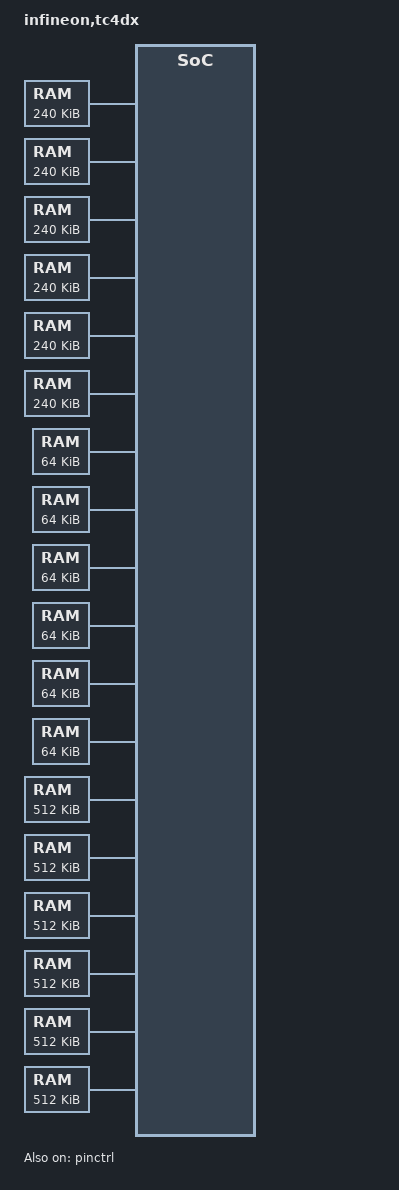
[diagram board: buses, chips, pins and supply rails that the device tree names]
/*
 * Copyright (c) 2024 Infineon Technologies AG
 *
 * SPDX-License-Identifier: Apache-2.0
 */

#include <infineon/tc4x/tc4dx-irq.h>

&sys_pll {
	fpllppu: sys_pll@3 {
		compatible = "infineon,aurix-pll-clock";
		reg = <3>;
		clocks = <&sys_pll>;
		k-div = <1>;
		k-pre-div = "1.1";
		#clock-cells = <0>;
	};
};

/ {
	model = "infineon,tc4dx";
	compatible = "infineon,tc4dx";

	clocks {
		fsourceppu: fsourceppu {
			compatible = "infineon,aurix-clock-mux";
			clocks = <&fpllppu>;
			#clock-cells = <0>;
		};

		fppu: fppu {
			compatible = "infineon,aurix-clock";
			clocks = <&fsourceppu>;
			clock-frequency = <454545454>;
			#clock-cells = <0>;
		};

		fcpu0: fcpu0 {
			compatible = "infineon,aurix-clock";
			clocks = <&fsri>;
			clock-frequency = <DT_FREQ_M(500)>;
			#clock-cells = <0>;
		};

		fcpu1: fcpu1 {
			compatible = "infineon,aurix-clock";
			clocks = <&fsri>;
			clock-frequency = <DT_FREQ_M(500)>;
			#clock-cells = <0>;
		};

		fcpu2: fcpu2 {
			compatible = "infineon,aurix-clock";
			clocks = <&fsri>;
			clock-frequency = <DT_FREQ_M(500)>;
			#clock-cells = <0>;
		};

		fcpu3: fcpu3 {
			compatible = "infineon,aurix-clock";
			clocks = <&fsri>;
			clock-frequency = <DT_FREQ_M(500)>;
			#clock-cells = <0>;
		};

		fcpu4: fcpu4 {
			compatible = "infineon,aurix-clock";
			clocks = <&fsri>;
			clock-frequency = <DT_FREQ_M(500)>;
			#clock-cells = <0>;
		};

		fcpu5: fcpu5 {
			compatible = "infineon,aurix-clock";
			clocks = <&fsri>;
			clock-frequency = <DT_FREQ_M(500)>;
			#clock-cells = <0>;
		};

		fcpucs: fcpucs {
			compatible = "infineon,aurix-clock";
			clocks = <&fsrics>;
			clock-frequency = <DT_FREQ_M(500)>;
			#clock-cells = <0>;
		};

		ffsi: ffsi {
			compatible = "infineon,aurix-clock";
			clocks = <&fsource0>;
			clock-frequency = <DT_FREQ_M(100)>;
			#clock-cells = <0>;
		};

		fleth: fleth {
			compatible = "infineon,aurix-clock";
			clocks = <&fsource0>;
			clock-frequency = <DT_FREQ_M(125)>;
			#clock-cells = <0>;
		};

		fgeth: fgeth {
			compatible = "infineon,aurix-clock";
			clocks = <&fsource0>;
			clock-frequency = <DT_FREQ_M(250)>;
			#clock-cells = <0>;
		};

		fcanxl: fcanxl {
			compatible = "infineon,aurix-clock";
			clocks = <&fsource0>;
			clock-frequency = <DT_FREQ_M(250)>;
			#clock-cells = <0>;
		};

		fcpb: fcpb {
			compatible = "infineon,aurix-clock";
			clocks = <&fsource0>;
			clock-frequency = <DT_FREQ_M(100)>;
			clock-names = "fcpb";
			status = "disabled";
			#clock-cells = <0>;
		};

		fegtm: fegtm {
			compatible = "infineon,aurix-clock";
			clocks = <&fsource0>;
			clock-frequency = <DT_FREQ_M(500)>;
			clock-names = "fegtm";
			status = "disabled";
			#clock-cells = <0>;
		};
	};

	cpus {
		#address-cells = <1>;
		#size-cells = <0>;

		cpu0: cpu@f8800000 {
			compatible = "infineon,tricore", "infineon,tc18";
			reg = <0xf8800000 0x40000>;
			clocks = <&fcpu0>;
		};

		cpu1: cpu@f8840000 {
			compatible = "infineon,tricore", "infineon,tc18";
			reg = <0xf8840000 0x40000>;
			clocks = <&fcpu1>;
		};

		cpu2: cpu@f8880000 {
			compatible = "infineon,tricore", "infineon,tc18";
			reg = <0xf8880000 0x40000>;
			clocks = <&fcpu2>;
		};

		cpu3: cpu@f88c0000 {
			compatible = "infineon,tricore", "infineon,tc18";
			reg = <0xf88c0000 0x40000>;
			clocks = <&fcpu3>;
		};

		cpu4: cpu@f8900000 {
			compatible = "infineon,tricore", "infineon,tc18";
			reg = <0xf8900000 0x40000>;
			clocks = <&fcpu4>;
		};

		cpu5: cpu@f8940000 {
			compatible = "infineon,tricore", "infineon,tc18";
			reg = <0xf8940000 0x40000>;
			clocks = <&fcpu5>;
		};
	};

	dmu_hci: flash_controller@f8040000 {
		compatible = "infineon,tc4x-dmu";
		#address-cells = <1>;
		#size-cells = <1>;
		reg = <0xf8040000 0x20>;

		flash0: flash@80000000 {
			compatible = "infineon,tc4x-nv-flash", "soc-nv-flash";
			write-block-size = <256>;
			reg = <0x80000000 DT_SIZE_M(4)>;
		};

		flash1: flash@80400000 {
			compatible = "infineon,tc4x-nv-flash", "soc-nv-flash";
			write-block-size = <256>;
			reg = <0x80400000 DT_SIZE_M(4)>;
		};

		flash2: flash@80800000 {
			compatible = "infineon,tc4x-nv-flash", "soc-nv-flash";
			write-block-size = <256>;
			reg = <0x80800000 DT_SIZE_M(2)>;
		};

		flash3: flash@80a00000 {
			compatible = "infineon,tc4x-nv-flash", "soc-nv-flash";
			write-block-size = <256>;
			reg = <0x80a00000 DT_SIZE_M(4)>;
		};

		flash4: flash@80e00000 {
			compatible = "infineon,tc4x-nv-flash", "soc-nv-flash";
			write-block-size = <256>;
			reg = <0x80e00000 DT_SIZE_M(4)>;
		};

		flash5: flash@81200000 {
			compatible = "infineon,tc4x-nv-flash", "soc-nv-flash";
			write-block-size = <256>;
			reg = <0x81200000 DT_SIZE_M(2)>;
		};
	};

	dsram0: memory@70000000 {
		compatible = "zephyr,memory-region", "mmio-sram";
		reg = <0x70000000 DT_SIZE_K(240)>;
		zephyr,memory-region = "DSRAM0";
	};

	dsram1: memory@60000000 {
		compatible = "zephyr,memory-region", "mmio-sram";
		reg = <0x60000000 DT_SIZE_K(240)>;
		zephyr,memory-region = "DSRAM1";
	};

	dsram2: memory@50000000 {
		compatible = "zephyr,memory-region", "mmio-sram";
		reg = <0x50000000 DT_SIZE_K(240)>;
		zephyr,memory-region = "DSRAM2";
	};

	dsram3: memory@40000000 {
		compatible = "zephyr,memory-region", "mmio-sram";
		reg = <0x40000000 DT_SIZE_K(240)>;
		zephyr,memory-region = "DSRAM3";
	};

	dsram4: memory@30000000 {
		compatible = "zephyr,memory-region", "mmio-sram";
		reg = <0x30000000 DT_SIZE_K(240)>;
		zephyr,memory-region = "DSRAM4";
	};

	dsram5: memory@20000000 {
		compatible = "zephyr,memory-region", "mmio-sram";
		reg = <0x20000000 DT_SIZE_K(240)>;
		zephyr,memory-region = "DSRAM5";
	};

	psram0: memory@70100000 {
		compatible = "zephyr,memory-region", "mmio-sram";
		reg = <0x70100000 DT_SIZE_K(64)>;
		zephyr,memory-region = "PSRAM0";
	};

	psram1: memory@60100000 {
		compatible = "zephyr,memory-region", "mmio-sram";
		reg = <0x60100000 DT_SIZE_K(64)>;
		zephyr,memory-region = "PSRAM1";
	};

	psram2: memory@50100000 {
		compatible = "zephyr,memory-region", "mmio-sram";
		reg = <0x50100000 DT_SIZE_K(64)>;
		zephyr,memory-region = "PSRAM2";
	};

	psram3: memory@40100000 {
		compatible = "zephyr,memory-region", "mmio-sram";
		reg = <0x40100000 DT_SIZE_K(64)>;
		zephyr,memory-region = "PSRAM3";
	};

	psram4: memory@30100000 {
		compatible = "zephyr,memory-region", "mmio-sram";
		reg = <0x30100000 DT_SIZE_K(64)>;
		zephyr,memory-region = "PSRAM4";
	};

	psram5: memory@20100000 {
		compatible = "zephyr,memory-region", "mmio-sram";
		reg = <0x20100000 DT_SIZE_K(64)>;
		zephyr,memory-region = "PSRAM5";
	};

	dlmu0: memory@90000000 {
		compatible = "zephyr,memory-region", "mmio-sram";
		reg = <0x90000000 DT_SIZE_K(512)>;
		zephyr,memory-region = "DLMU0";
	};

	dlmu1: memory@90080000 {
		compatible = "zephyr,memory-region", "mmio-sram";
		reg = <0x90080000 DT_SIZE_K(512)>;
		zephyr,memory-region = "DLMU1";
	};

	dlmu2: memory@90100000 {
		compatible = "zephyr,memory-region", "mmio-sram";
		reg = <0x90100000 DT_SIZE_K(512)>;
		zephyr,memory-region = "DLMU2";
	};

	dlmu3: memory@90180000 {
		compatible = "zephyr,memory-region", "mmio-sram";
		reg = <0x90180000 DT_SIZE_K(512)>;
		zephyr,memory-region = "DLMU3";
	};

	dlmu4: memory@90200000 {
		compatible = "zephyr,memory-region", "mmio-sram";
		reg = <0x90200000 DT_SIZE_K(512)>;
		zephyr,memory-region = "DLMU4";
	};

	dlmu5: memory@90280000 {
		compatible = "zephyr,memory-region", "mmio-sram";
		reg = <0x90280000 DT_SIZE_K(512)>;
		zephyr,memory-region = "DLMU5";
	};

	soc {
		#address-cells = <1>;
		#size-cells = <1>;
		interrupt-parent = <&ir>;
		compatible = "simple-bus";
		ranges;

		wdtcpu0: wdt@f0000018 {
			compatible = "infineon,aurix-watchdog";
			reg = <0xf0000018 0x30>;
			status = "disabled";
		};

		wdtcpu1: wdt@f0000048 {
			compatible = "infineon,aurix-watchdog";
			reg = <0xf0000048 0x30>;
			status = "disabled";
		};

		wdtcpu2: wdt@f0000078 {
			compatible = "infineon,aurix-watchdog";
			reg = <0xf0000078 0x30>;
			status = "disabled";
		};

		wdtcpu3: wdt@f00000a8 {
			compatible = "infineon,aurix-watchdog";
			reg = <0xf00000a8 0x30>;
			status = "disabled";
		};

		wdtcpu4: wdt@f00000d8 {
			compatible = "infineon,aurix-watchdog";
			reg = <0xf00000d8 0x30>;
			status = "disabled";
		};

		wdtcpu5: wdt@f0000108 {
			compatible = "infineon,aurix-watchdog";
			reg = <0xf0000108 0x30>;
			status = "disabled";
		};

		stm0: timer@f8800000 {
			compatible = "infineon,aurix-stm";
			reg = <0xf8800000 0x200>;
			clocks = <&fstm>;
			interrupts = <IRQ_STMCPU0_SR0 1>, <IRQ_STMCPU0_SR2 1>,
				     <IRQ_STMCPU0_SR4 1>, <IRQ_STMCPU0_SR6 1>,
				     <IRQ_STMCPU0_SR8 1>, <IRQ_STMCPU0_SR10 1>,
				     <IRQ_STMCPU0_SR12 1>, <IRQ_STMCPU0_SR14 1>;
		};

		stm1: timer@f8840000 {
			compatible = "infineon,aurix-stm";
			reg = <0xf8840000 0x200>;
			clocks = <&fstm>;
			interrupts = <IRQ_STMCPU1_SR0 1>, <IRQ_STMCPU1_SR2 1>,
				     <IRQ_STMCPU1_SR4 1>, <IRQ_STMCPU1_SR6 1>,
				     <IRQ_STMCPU1_SR8 1>, <IRQ_STMCPU1_SR10 1>,
				     <IRQ_STMCPU1_SR12 1>, <IRQ_STMCPU1_SR14 1>;
		};

		stm2: timer@f8880000 {
			compatible = "infineon,aurix-stm";
			reg = <0xf8880000 0x200>;
			clocks = <&fstm>;
			interrupts = <IRQ_STMCPU2_SR0 1>, <IRQ_STMCPU2_SR2 1>,
				     <IRQ_STMCPU2_SR4 1>, <IRQ_STMCPU2_SR6 1>,
				     <IRQ_STMCPU2_SR8 1>, <IRQ_STMCPU2_SR10 1>,
				     <IRQ_STMCPU2_SR12 1>, <IRQ_STMCPU2_SR14 1>;
		};

		stm3: timer@f88c0000 {
			compatible = "infineon,aurix-stm";
			reg = <0xf88c0000 0x200>;
			clocks = <&fstm>;
			interrupts = <IRQ_STMCPU3_SR0 1>, <IRQ_STMCPU3_SR2 1>,
				     <IRQ_STMCPU3_SR4 1>, <IRQ_STMCPU3_SR6 1>,
				     <IRQ_STMCPU3_SR8 1>, <IRQ_STMCPU3_SR10 1>,
				     <IRQ_STMCPU3_SR12 1>, <IRQ_STMCPU3_SR14 1>;
		};

		stm4: timer@f8900000 {
			compatible = "infineon,aurix-stm";
			reg = <0xf8900000 0x200>;
			clocks = <&fstm>;
			interrupts = <IRQ_STMCPU4_SR0 1>, <IRQ_STMCPU4_SR2 1>,
				     <IRQ_STMCPU4_SR4 1>, <IRQ_STMCPU4_SR6 1>,
				     <IRQ_STMCPU4_SR8 1>, <IRQ_STMCPU4_SR10 1>,
				     <IRQ_STMCPU4_SR12 1>, <IRQ_STMCPU4_SR14 1>;
		};

		stm5: timer@f8940000 {
			compatible = "infineon,aurix-stm";
			reg = <0xf8940000 0x200>;
			clocks = <&fstm>;
			interrupts = <IRQ_STMCPU5_SR0 1>, <IRQ_STMCPU5_SR2 1>,
				     <IRQ_STMCPU5_SR4 1>, <IRQ_STMCPU5_SR6 1>,
				     <IRQ_STMCPU5_SR8 1>, <IRQ_STMCPU5_SR10 1>,
				     <IRQ_STMCPU5_SR12 1>, <IRQ_STMCPU5_SR14 1>;
		};

		pinctrl: pinctrl@f003a000 {
			compatible = "infineon,tc4x-pinctrl";
			reg = <0xf003a000 0xa400>;
			#address-cells = <1>;
			#size-cells = <1>;
			status = "okay";

			p00: gpio@f003a000 {
				compatible = "infineon,tc4x-gpio";
				reg = <0xf003a000 0x400>;
				gpio-controller;
				#gpio-cells = <2>;
				status = "disabled";
			};

			p01: gpio@f003a400 {
				compatible = "infineon,tc4x-gpio";
				reg = <0xf003a400 0x400>;
				gpio-controller;
				#gpio-cells = <2>;
				status = "disabled";
			};

			p02: gpio@f003a800 {
				compatible = "infineon,tc4x-gpio";
				reg = <0xf003a800 0x400>;
				gpio-controller;
				#gpio-cells = <2>;
				status = "disabled";
			};

			p03: gpio@f003ac00 {
				compatible = "infineon,tc4x-gpio";
				reg = <0xf003ac00 0x400>;
				gpio-controller;
				#gpio-cells = <2>;
				status = "disabled";
			};

			p04: gpio@f003b000 {
				compatible = "infineon,tc4x-gpio";
				reg = <0xf003b000 0x400>;
				gpio-controller;
				#gpio-cells = <2>;
				status = "disabled";
			};

			p10: gpio@f003c800 {
				compatible = "infineon,tc4x-gpio";
				reg = <0xf003c800 0x400>;
				gpio-controller;
				#gpio-cells = <2>;
				status = "disabled";
			};

			p13: gpio@f003d400 {
				compatible = "infineon,tc4x-gpio";
				reg = <0xf003d400 0x400>;
				gpio-controller;
				#gpio-cells = <2>;
				status = "disabled";
			};

			p14: gpio@f003d800 {
				compatible = "infineon,tc4x-gpio";
				reg = <0xf003d800 0x400>;
				gpio-controller;
				#gpio-cells = <2>;
				status = "disabled";
			};

			p15: gpio@f003dc00 {
				compatible = "infineon,tc4x-gpio";
				reg = <0xf003dc00 0x400>;
				gpio-controller;
				#gpio-cells = <2>;
				status = "disabled";
			};

			p16: gpio@f003e000 {
				compatible = "infineon,tc4x-gpio";
				reg = <0xf003e000 0x400>;
				gpio-controller;
				#gpio-cells = <2>;
				status = "disabled";
			};

			p20: gpio@f003f000 {
				compatible = "infineon,tc4x-gpio";
				reg = <0xf003f000 0x400>;
				gpio-controller;
				#gpio-cells = <2>;
				status = "disabled";
			};

			p21: gpio@f003f400 {
				compatible = "infineon,tc4x-gpio";
				reg = <0xf003f400 0x400>;
				gpio-controller;
				#gpio-cells = <2>;
				status = "disabled";
			};

			p22: gpio@f003f800 {
				compatible = "infineon,tc4x-gpio";
				reg = <0xf003f800 0x400>;
				gpio-controller;
				#gpio-cells = <2>;
				status = "disabled";
			};

			p23: gpio@f003fc00 {
				compatible = "infineon,tc4x-gpio";
				reg = <0xf003fc00 0x400>;
				gpio-controller;
				#gpio-cells = <2>;
				status = "disabled";
			};

			p25: gpio@f0040400 {
				compatible = "infineon,tc4x-gpio";
				reg = <0xf0040400 0x400>;
				gpio-controller;
				#gpio-cells = <2>;
				status = "disabled";
			};

			p30: gpio@f0041800 {
				compatible = "infineon,tc4x-gpio";
				reg = <0xf0041800 0x400>;
				gpio-controller;
				#gpio-cells = <2>;
				status = "disabled";
			};

			p31: gpio@f0041c00 {
				compatible = "infineon,tc4x-gpio";
				reg = <0xf0041c00 0x400>;
				gpio-controller;
				#gpio-cells = <2>;
				status = "disabled";
			};

			p32: gpio@f0042000 {
				compatible = "infineon,tc4x-gpio";
				reg = <0xf0042000 0x400>;
				gpio-controller;
				#gpio-cells = <2>;
				status = "disabled";
			};

			p33: gpio@f0042400 {
				compatible = "infineon,tc4x-gpio";
				reg = <0xf0042400 0x400>;
				gpio-controller;
				#gpio-cells = <2>;
				status = "disabled";
			};

			p34: gpio@f0042800 {
				compatible = "infineon,tc4x-gpio";
				reg = <0xf0042800 0x400>;
				gpio-controller;
				#gpio-cells = <2>;
				status = "disabled";
			};

			p35: gpio@f0042c00 {
				compatible = "infineon,tc4x-gpio";
				reg = <0xf0042c00 0x400>;
				gpio-controller;
				#gpio-cells = <2>;
				status = "disabled";
			};

			p40: gpio@f0044000 {
				compatible = "infineon,tc4x-gpio";
				reg = <0xf0044000 0x400>;
				gpio-controller;
				#gpio-cells = <2>;
				status = "disabled";
			};
		};

		asclin0: asclin@f46c0000 {
			reg = <0xf46c0000 512>;
			interrupts = <IRQ_ASCLIN0_TX 2>, <IRQ_ASCLIN0_RX 3>, <IRQ_ASCLIN0_ERR 4>;
			interrupt-names = "tx", "rx", "err";
			clocks = <&ccu CLOCK_FASCLINF>, <&ccu CLOCK_FASCLINS>;
			clock-names = "fasclinf", "fasclins";
			status = "disabled";
		};

		asclin1: asclin@f46c0200 {
			reg = <0xf46c0200 512>;
			interrupts = <IRQ_ASCLIN1_TX 2>, <IRQ_ASCLIN1_RX 3>, <IRQ_ASCLIN1_ERR 4>;
			interrupt-names = "tx", "rx", "err";
			clocks = <&ccu CLOCK_FASCLINF>, <&ccu CLOCK_FASCLINS>;
			clock-names = "fasclinf", "fasclins";
			status = "disabled";
		};

		asclin2: asclin@f46c0400 {
			reg = <0xf46c0400 512>;
			interrupts = <IRQ_ASCLIN2_TX 2>, <IRQ_ASCLIN2_RX 3>, <IRQ_ASCLIN2_ERR 4>;
			interrupt-names = "tx", "rx", "err";
			clocks = <&ccu CLOCK_FASCLINF>, <&ccu CLOCK_FASCLINS>;
			clock-names = "fasclinf", "fasclins";
			status = "disabled";
		};

		asclin3: asclin@f46c0600 {
			reg = <0xf46c0600 512>;
			interrupts = <IRQ_ASCLIN3_TX 2>, <IRQ_ASCLIN3_RX 3>, <IRQ_ASCLIN3_ERR 4>;
			interrupt-names = "tx", "rx", "err";
			clocks = <&ccu CLOCK_FASCLINF>, <&ccu CLOCK_FASCLINS>;
			clock-names = "fasclinf", "fasclins";
			status = "disabled";
		};

		asclin4: asclin@f46c0800 {
			reg = <0xf46c0800 512>;
			interrupts = <IRQ_ASCLIN4_TX 2>, <IRQ_ASCLIN4_RX 3>, <IRQ_ASCLIN4_ERR 4>;
			interrupt-names = "tx", "rx", "err";
			clocks = <&ccu CLOCK_FASCLINF>, <&ccu CLOCK_FASCLINS>;
			clock-names = "fasclinf", "fasclins";
			status = "disabled";
		};

		asclin5: asclin@f46c0a00 {
			reg = <0xf46c0a00 512>;
			interrupts = <IRQ_ASCLIN5_TX 2>, <IRQ_ASCLIN5_RX 3>, <IRQ_ASCLIN5_ERR 4>;
			interrupt-names = "tx", "rx", "err";
			clocks = <&ccu CLOCK_FASCLINF>, <&ccu CLOCK_FASCLINS>;
			clock-names = "fasclinf", "fasclins";
			status = "disabled";
		};

		asclin6: asclin@f46c0c00 {
			reg = <0xf46c0c00 512>;
			interrupts = <IRQ_ASCLIN6_TX 2>, <IRQ_ASCLIN6_RX 3>, <IRQ_ASCLIN6_ERR 4>;
			interrupt-names = "tx", "rx", "err";
			clocks = <&ccu CLOCK_FASCLINF>, <&ccu CLOCK_FASCLINS>;
			clock-names = "fasclinf", "fasclins";
			status = "disabled";
		};

		asclin7: asclin@f46c0e00 {
			reg = <0xf46c0e00 512>;
			interrupts = <IRQ_ASCLIN7_TX 2>, <IRQ_ASCLIN7_RX 3>, <IRQ_ASCLIN7_ERR 4>;
			interrupt-names = "tx", "rx", "err";
			clocks = <&ccu CLOCK_FASCLINF>, <&ccu CLOCK_FASCLINS>;
			clock-names = "fasclinf", "fasclins";
			status = "disabled";
		};

		asclin8: asclin@f46c1000 {
			reg = <0xf46c1000 512>;
			interrupts = <IRQ_ASCLIN8_TX 2>, <IRQ_ASCLIN8_RX 3>, <IRQ_ASCLIN8_ERR 4>;
			interrupt-names = "tx", "rx", "err";
			clocks = <&ccu CLOCK_FASCLINF>, <&ccu CLOCK_FASCLINS>;
			clock-names = "fasclinf", "fasclins";
			status = "disabled";
		};

		asclin9: asclin@f46c1200 {
			reg = <0xf46c1200 512>;
			interrupts = <IRQ_ASCLIN9_TX 2>, <IRQ_ASCLIN9_RX 3>, <IRQ_ASCLIN9_ERR 4>;
			interrupt-names = "tx", "rx", "err";
			clocks = <&ccu CLOCK_FASCLINF>, <&ccu CLOCK_FASCLINS>;
			clock-names = "fasclinf", "fasclins";
			status = "disabled";
		};

		asclin10: asclin@f46c1400 {
			reg = <0xf46c1400 512>;
			interrupts = <IRQ_ASCLIN10_TX 2>, <IRQ_ASCLIN10_RX 3>, <IRQ_ASCLIN10_ERR 4>;
			interrupt-names = "tx", "rx", "err";
			clocks = <&ccu CLOCK_FASCLINF>, <&ccu CLOCK_FASCLINS>;
			clock-names = "fasclinf", "fasclins";
			status = "disabled";
		};

		asclin11: asclin@f46c1600 {
			reg = <0xf46c1600 512>;
			interrupts = <IRQ_ASCLIN11_TX 2>, <IRQ_ASCLIN11_RX 3>, <IRQ_ASCLIN11_ERR 4>;
			interrupt-names = "tx", "rx", "err";
			clocks = <&ccu CLOCK_FASCLINF>, <&ccu CLOCK_FASCLINS>;
			clock-names = "fasclinf", "fasclins";
			status = "disabled";
		};

		asclin12: asclin@f46c1800 {
			reg = <0xf46c1800 512>;
			interrupts = <IRQ_ASCLIN12_TX 2>, <IRQ_ASCLIN12_RX 3>, <IRQ_ASCLIN12_ERR 4>;
			interrupt-names = "tx", "rx", "err";
			clocks = <&ccu CLOCK_FASCLINF>, <&ccu CLOCK_FASCLINS>;
			clock-names = "fasclinf", "fasclins";
			status = "disabled";
		};

		asclin13: asclin@f46c1a00 {
			reg = <0xf46c1a00 512>;
			interrupts = <IRQ_ASCLIN13_TX 2>, <IRQ_ASCLIN13_RX 3>, <IRQ_ASCLIN13_ERR 4>;
			interrupt-names = "tx", "rx", "err";
			clocks = <&ccu CLOCK_FASCLINF>, <&ccu CLOCK_FASCLINS>;
			clock-names = "fasclinf", "fasclins";
			status = "disabled";
		};

		asclin14: asclin@f46c1c00 {
			reg = <0xf46c1c00 512>;
			interrupts = <IRQ_ASCLIN14_TX 2>, <IRQ_ASCLIN14_RX 3>, <IRQ_ASCLIN14_ERR 4>;
			interrupt-names = "tx", "rx", "err";
			clocks = <&ccu CLOCK_FASCLINF>, <&ccu CLOCK_FASCLINS>;
			clock-names = "fasclinf", "fasclins";
			status = "disabled";
		};

		asclin15: asclin@f46c1e00 {
			reg = <0xf46c1e00 512>;
			interrupts = <IRQ_ASCLIN15_TX 2>, <IRQ_ASCLIN15_RX 3>, <IRQ_ASCLIN15_ERR 4>;
			interrupt-names = "tx", "rx", "err";
			clocks = <&ccu CLOCK_FASCLINF>, <&ccu CLOCK_FASCLINS>;
			clock-names = "fasclinf", "fasclins";
			status = "disabled";
		};

		asclin16: asclin@f46c2000 {
			reg = <0xf46c2000 512>;
			interrupts = <IRQ_ASCLIN16_TX 2>, <IRQ_ASCLIN16_RX 3>, <IRQ_ASCLIN16_ERR 4>;
			interrupt-names = "tx", "rx", "err";
			clocks = <&ccu CLOCK_FASCLINF>, <&ccu CLOCK_FASCLINS>;
			clock-names = "fasclinf", "fasclins";
			status = "disabled";
		};

		asclin17: asclin@f46c2200 {
			reg = <0xf46c2200 512>;
			interrupts = <IRQ_ASCLIN17_TX 2>, <IRQ_ASCLIN17_RX 3>, <IRQ_ASCLIN17_ERR 4>;
			interrupt-names = "tx", "rx", "err";
			clocks = <&ccu CLOCK_FASCLINF>, <&ccu CLOCK_FASCLINS>;
			clock-names = "fasclinf", "fasclins";
			status = "disabled";
		};

		asclin18: asclin@f46c2400 {
			reg = <0xf46c2400 512>;
			interrupts = <IRQ_ASCLIN18_TX 2>, <IRQ_ASCLIN18_RX 3>, <IRQ_ASCLIN18_ERR 4>;
			interrupt-names = "tx", "rx", "err";
			clocks = <&ccu CLOCK_FASCLINF>, <&ccu CLOCK_FASCLINS>;
			clock-names = "fasclinf", "fasclins";
			status = "disabled";
		};

		asclin19: asclin@f46c2600 {
			reg = <0xf46c2600 512>;
			interrupts = <IRQ_ASCLIN19_TX 2>, <IRQ_ASCLIN19_RX 3>, <IRQ_ASCLIN19_ERR 4>;
			interrupt-names = "tx", "rx", "err";
			clocks = <&ccu CLOCK_FASCLINF>, <&ccu CLOCK_FASCLINS>;
			clock-names = "fasclinf", "fasclins";
			status = "disabled";
		};

		asclin20: asclin@f46c2800 {
			reg = <0xf46c2800 512>;
			interrupts = <IRQ_ASCLIN20_TX 2>, <IRQ_ASCLIN20_RX 3>, <IRQ_ASCLIN20_ERR 4>;
			interrupt-names = "tx", "rx", "err";
			clocks = <&ccu CLOCK_FASCLINF>, <&ccu CLOCK_FASCLINS>;
			clock-names = "fasclinf", "fasclins";
			status = "disabled";
		};

		asclin21: asclin@f46c2a00 {
			reg = <0xf46c2a00 512>;
			interrupts = <IRQ_ASCLIN21_TX 2>, <IRQ_ASCLIN21_RX 3>, <IRQ_ASCLIN21_ERR 4>;
			interrupt-names = "tx", "rx", "err";
			clocks = <&ccu CLOCK_FASCLINF>, <&ccu CLOCK_FASCLINS>;
			clock-names = "fasclinf", "fasclins";
			status = "disabled";
		};

		asclin22: asclin@f46c2c00 {
			reg = <0xf46c2c00 512>;
			interrupts = <IRQ_ASCLIN22_TX 2>, <IRQ_ASCLIN22_RX 3>, <IRQ_ASCLIN22_ERR 4>;
			interrupt-names = "tx", "rx", "err";
			clocks = <&ccu CLOCK_FASCLINF>, <&ccu CLOCK_FASCLINS>;
			clock-names = "fasclinf", "fasclins";
			status = "disabled";
		};

		asclin23: asclin@f46c2e00 {
			reg = <0xf46c2e00 512>;
			interrupts = <IRQ_ASCLIN23_TX 2>, <IRQ_ASCLIN23_RX 3>, <IRQ_ASCLIN23_ERR 4>;
			interrupt-names = "tx", "rx", "err";
			clocks = <&ccu CLOCK_FASCLINF>, <&ccu CLOCK_FASCLINS>;
			clock-names = "fasclinf", "fasclins";
			status = "disabled";
		};

		asclin24: asclin@f46c3000 {
			reg = <0xf46c3000 512>;
			interrupts = <IRQ_ASCLIN24_TX 2>, <IRQ_ASCLIN24_RX 3>, <IRQ_ASCLIN24_ERR 4>;
			interrupt-names = "tx", "rx", "err";
			clocks = <&ccu CLOCK_FASCLINF>, <&ccu CLOCK_FASCLINS>;
			clock-names = "fasclinf", "fasclins";
			status = "disabled";
		};

		asclin25: asclin@f46c3200 {
			reg = <0xf46c3200 512>;
			interrupts = <IRQ_ASCLIN25_TX 2>, <IRQ_ASCLIN25_RX 3>, <IRQ_ASCLIN25_ERR 4>;
			interrupt-names = "tx", "rx", "err";
			clocks = <&ccu CLOCK_FASCLINF>, <&ccu CLOCK_FASCLINS>;
			clock-names = "fasclinf", "fasclins";
			status = "disabled";
		};

		asclin26: asclin@f46c3400 {
			reg = <0xf46c3400 512>;
			interrupts = <IRQ_ASCLIN26_TX 2>, <IRQ_ASCLIN26_RX 3>, <IRQ_ASCLIN26_ERR 4>;
			interrupt-names = "tx", "rx", "err";
			clocks = <&ccu CLOCK_FASCLINF>, <&ccu CLOCK_FASCLINS>;
			clock-names = "fasclinf", "fasclins";
			status = "disabled";
		};

		asclin27: asclin@f46c3600 {
			reg = <0xf46c3600 512>;
			interrupts = <IRQ_ASCLIN27_TX 2>, <IRQ_ASCLIN27_RX 3>, <IRQ_ASCLIN27_ERR 4>;
			interrupt-names = "tx", "rx", "err";
			clocks = <&ccu CLOCK_FASCLINF>, <&ccu CLOCK_FASCLINS>;
			clock-names = "fasclinf", "fasclins";
			status = "disabled";
		};
	};
};
